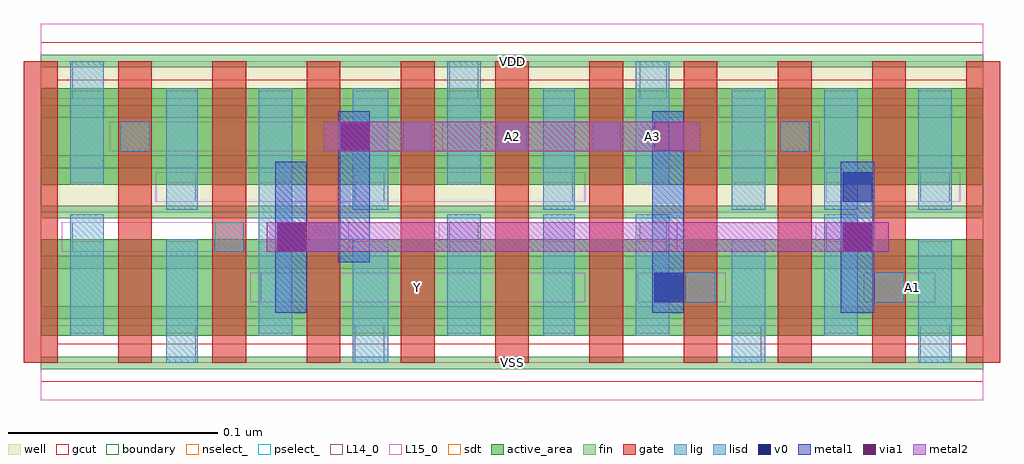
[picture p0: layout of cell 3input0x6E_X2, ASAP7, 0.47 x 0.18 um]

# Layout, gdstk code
import gdstk
lib = gdstk.Library(unit=1e-6, precision=1e-09)
def R(c, l, rs):  # rectangles x0, y0, x1, y1
    for r in rs: c.add(gdstk.rectangle(r[:2], r[2:], *l))
def A(c, l, x, y, w, h, nx, ny, dx, dy):  # array of equal rectangles
    R(c, l, [(x+i*dx, y+j*dy, x+i*dx+w, y+j*dy+h) for i in range(nx) for j in range(ny)])
def P(c, l, *ps):  # polygons
    for p in ps: c.add(gdstk.Polygon(p, *l))
well = (1, 0)
fin = (2, 0)
gate = (7, 0)
gcut = (10, 0)
active_area = (11, 0)
nselect_ = (12, 0)
pselect_ = (13, 0)
L14_0 = (14, 0)
L15_0 = (15, 0)
lig = (16, 0)
lisd = (17, 0)
v0 = (18, 0)
metal1 = (19, 0)
metal2 = (20, 0)
via1 = (21, 0)
sdt = (88, 0)
boundary = (100, 0)

c_3input0x6e_x2 = lib.new_cell('3input0x6E_X2')
R(c_3input0x6e_x2, well, [(0,0.072,0.45,0.144)])
A(c_3input0x6e_x2, fin, 0, -0.003, 0.45, 0.006, 1, 7, 0, 0.024)
A(c_3input0x6e_x2, gate, -0.008, 0, 0.016, 0.144, 11, 1, 0.045, 0)
P(c_3input0x6e_x2, gcut, [(0,-0.009),(0,0),(-0.008,0),(-0.008,0.135),(0.008,0.135),(0.008,0.009),(0.442,0.009),(0.442,0.135),(-0.008,0.135),(-0.008,0.144),(0,0.144),(0,0.153),(0.45,0.153),(0.45,0.144),(0.458,0.144),(0.458,0),(0.45,0),(0.45,-0.009)])
R(c_3input0x6e_x2, active_area, [(0,0.013,0.45,0.059), (0,0.085,0.45,0.131)])
R(c_3input0x6e_x2, nselect_, [(0,0,0.45,0.072)])
R(c_3input0x6e_x2, pselect_, [(0,0.072,0.45,0.144)])
A(c_3input0x6e_x2, L14_0, 0.06, 0.077, 0.014, 0.014, 3, 1, 0.09, 0)
A(c_3input0x6e_x2, L14_0, 0.173, 0.101, 0.014, 0.014, 3, 1, 0.045, 0)
R(c_3input0x6e_x2, L14_0, [(0.06,0,0.074,0.018), (0.15,0,0.164,0.018), (0.33,0,0.344,0.018), (0.42,0,0.434,0.018), (0.105,0.029,0.12,0.043), (0.24,0.029,0.254,0.043), (0.308,0.029,0.322,0.043), (0.398,0.029,0.412,0.043), (0.015,0.053,0.03,0.067), (0.083,0.053,0.097,0.067), (0.128,0.053,0.142,0.067), (0.195,0.053,0.209,0.067), (0.286,0.053,0.299,0.067), (0.375,0.053,0.389,0.067), (0.42,0.077,0.434,0.091), (0.038,0.101,0.052,0.115), (0.353,0.101,0.367,0.115), (0.015,0.126,0.03,0.144), (0.195,0.126,0.209,0.144), (0.286,0.126,0.299,0.144)])
R(c_3input0x6e_x2, L15_0, [(0,-0.018,0.45,0.018), (0.1,0.029,0.26,0.043), (0.285,0.029,0.327,0.043), (0.393,0.029,0.427,0.043), (0.01,0.053,0.147,0.067), (0.19,0.053,0.304,0.067), (0.37,0.053,0.405,0.067), (0.055,0.077,0.26,0.091), (0.375,0.077,0.439,0.091), (0.033,0.101,0.192,0.115), (0.213,0.101,0.372,0.115), (0,0.126,0.45,0.162)])
A(c_3input0x6e_x2, lig, 0.173, 0.101, 0.014, 0.014, 3, 1, 0.045, 0)
R(c_3input0x6e_x2, lig, [(0.308,0.029,0.322,0.043), (0.398,0.029,0.412,0.043), (0.083,0.053,0.097,0.067), (0.128,0.053,0.142,0.067), (0.038,0.101,0.052,0.115), (0.353,0.101,0.367,0.115)])
A(c_3input0x6e_x2, lisd, 0.194, 0.013, 0.016, 0.058, 3, 1, 0.09, 0)
R(c_3input0x6e_x2, lisd, [(0.06,0,0.075,0.059), (0.149,0,0.166,0.059), (0.33,0,0.346,0.059), (0.419,0,0.435,0.059), (0.014,0.013,0.03,0.071), (0.104,0.013,0.12,0.131), (0.24,0.013,0.255,0.071), (0.06,0.073,0.075,0.131), (0.149,0.073,0.166,0.131), (0.24,0.073,0.255,0.131), (0.33,0.073,0.346,0.131), (0.374,0.073,0.39,0.131), (0.419,0.073,0.435,0.131), (0.014,0.085,0.03,0.144), (0.194,0.085,0.21,0.144), (0.284,0.085,0.3,0.144)])
R(c_3input0x6e_x2, v0, [(0.293,0.029,0.307,0.043), (0.113,0.053,0.127,0.067), (0.383,0.053,0.397,0.067), (0.383,0.077,0.397,0.091), (0.143,0.101,0.157,0.115)])
R(c_3input0x6e_x2, metal1, [(0.112,0.024,0.127,0.096), (0.292,0.024,0.307,0.12), (0.382,0.024,0.398,0.096), (0.142,0.048,0.157,0.12)])
R(c_3input0x6e_x2, metal2, [(0.108,0.053,0.405,0.067), (0.135,0.101,0.315,0.115)])
R(c_3input0x6e_x2, via1, [(0.113,0.053,0.127,0.067), (0.383,0.053,0.397,0.067), (0.143,0.101,0.157,0.115), (0.293,0.101,0.307,0.115)])
A(c_3input0x6e_x2, sdt, 0.014, 0.014, 0.016, 0.044, 4, 2, 0.09, 0.072)
R(c_3input0x6e_x2, sdt, [(0.06,0.014,0.075,0.058), (0.149,0.014,0.166,0.058), (0.24,0.014,0.255,0.058), (0.33,0.014,0.346,0.058), (0.374,0.014,0.39,0.058), (0.419,0.014,0.435,0.058), (0.06,0.086,0.075,0.13), (0.149,0.086,0.166,0.13), (0.24,0.086,0.255,0.13), (0.33,0.086,0.346,0.13), (0.374,0.086,0.39,0.13), (0.419,0.086,0.435,0.13)])
R(c_3input0x6e_x2, boundary, [(0,0,0.45,0.144)])
c_3input0x6e_x2.add(gdstk.Label('VSS', (0.225,0), layer=15, texttype=251))
c_3input0x6e_x2.add(gdstk.Label('VDD', (0.225,0.144), layer=15, texttype=251))
c_3input0x6e_x2.add(gdstk.Label('A3', (0.292,0.108), layer=15, texttype=251))
c_3input0x6e_x2.add(gdstk.Label('VSS', (0.225,0), layer=15, texttype=251))
c_3input0x6e_x2.add(gdstk.Label('VDD', (0.225,0.144), layer=15, texttype=251))
c_3input0x6e_x2.add(gdstk.Label('A1', (0.416,0.036), layer=15, texttype=251))
c_3input0x6e_x2.add(gdstk.Label('VSS', (0.225,0), layer=15, texttype=251))
c_3input0x6e_x2.add(gdstk.Label('VDD', (0.225,0.144), layer=15, texttype=251))
c_3input0x6e_x2.add(gdstk.Label('Y', (0.18,0.036), layer=15, texttype=251))
c_3input0x6e_x2.add(gdstk.Label('VSS', (0.225,0), layer=15, texttype=251))
c_3input0x6e_x2.add(gdstk.Label('VDD', (0.225,0.144), layer=15, texttype=251))
c_3input0x6e_x2.add(gdstk.Label('A2', (0.225,0.108), layer=20, texttype=251))
c_3input0x6e_x2.add(gdstk.Label('VSS', (0.225,0), layer=3, texttype=251))
c_3input0x6e_x2.add(gdstk.Label('VSS', (0.225,0), layer=3, texttype=251))
c_3input0x6e_x2.add(gdstk.Label('VSS', (0.225,0), layer=3, texttype=251))
c_3input0x6e_x2.add(gdstk.Label('VSS', (0.225,0), layer=3, texttype=251))
c_3input0x6e_x2.add(gdstk.Label('VDD', (0.225,0.144), layer=1, texttype=251))
c_3input0x6e_x2.add(gdstk.Label('VDD', (0.225,0.144), layer=1, texttype=251))
c_3input0x6e_x2.add(gdstk.Label('VDD', (0.225,0.144), layer=1, texttype=251))
c_3input0x6e_x2.add(gdstk.Label('VDD', (0.225,0.144), layer=1, texttype=251))

lib.write_gds('3input0x6E_X2.gds')
